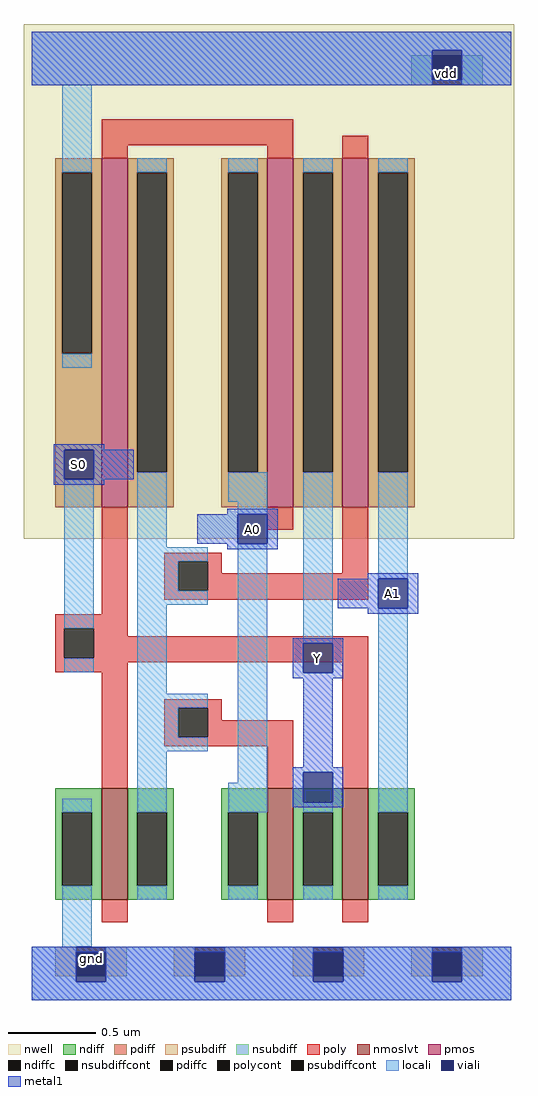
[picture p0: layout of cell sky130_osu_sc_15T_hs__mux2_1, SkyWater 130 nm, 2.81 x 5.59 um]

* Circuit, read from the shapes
.subckt sky130_osu_sc_15T_hs__mux2_1 S0 Y A0 A1
XM1 n1 S0 gnd gnd sky130_fd_pr__nfet_01v8_lvt w=0.64 l=0.15
XM2 Y n1 A0 gnd sky130_fd_pr__nfet_01v8_lvt w=0.64 l=0.15
XM3 A1 S0 Y gnd sky130_fd_pr__nfet_01v8_lvt w=0.64 l=0.15
XM4 n1 S0 vdd vdd sky130_fd_pr__pfet_01v8 w=2 l=0.15
XM5 Y S0 A0 vdd sky130_fd_pr__pfet_01v8 w=2 l=0.15
XM6 A1 n1 Y vdd sky130_fd_pr__pfet_01v8 w=2 l=0.15
.ends

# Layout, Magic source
magic
tech sky130A
magscale 1 2
<< nwell >>
rect -9 529 553 1119
<< nmoslvt >>
rect 80 115 110 243
rect 270 115 300 243
rect 356 115 386 243
<< pmos >>
rect 80 565 110 965
rect 270 565 300 965
rect 356 565 386 965
<< ndiff >>
rect 27 215 80 243
rect 27 131 35 215
rect 69 131 80 215
rect 27 115 80 131
rect 110 215 163 243
rect 110 131 121 215
rect 155 131 163 215
rect 110 115 163 131
rect 217 215 270 243
rect 217 131 225 215
rect 259 131 270 215
rect 217 115 270 131
rect 300 215 356 243
rect 300 131 311 215
rect 345 131 356 215
rect 300 115 356 131
rect 386 215 439 243
rect 386 131 397 215
rect 431 131 439 215
rect 386 115 439 131
<< pdiff >>
rect 27 949 80 965
rect 27 741 35 949
rect 69 741 80 949
rect 27 565 80 741
rect 110 949 163 965
rect 110 605 121 949
rect 155 605 163 949
rect 110 565 163 605
rect 217 949 270 965
rect 217 605 225 949
rect 259 605 270 949
rect 217 565 270 605
rect 300 949 356 965
rect 300 605 311 949
rect 345 605 356 949
rect 300 565 356 605
rect 386 949 439 965
rect 386 605 397 949
rect 431 605 439 949
rect 386 565 439 605
<< ndiffc >>
rect 35 131 69 215
rect 121 131 155 215
rect 225 131 259 215
rect 311 131 345 215
rect 397 131 431 215
<< pdiffc >>
rect 35 741 69 949
rect 121 605 155 949
rect 225 605 259 949
rect 311 605 345 949
rect 397 605 431 949
<< psubdiff >>
rect 27 27 51 61
rect 85 27 109 61
rect 163 27 187 61
rect 221 27 245 61
rect 299 27 323 61
rect 357 27 381 61
rect 435 27 459 61
rect 493 27 517 61
<< nsubdiff >>
rect 435 1049 459 1083
rect 493 1049 517 1083
<< psubdiffcont >>
rect 51 27 85 61
rect 187 27 221 61
rect 323 27 357 61
rect 459 27 493 61
<< nsubdiffcont >>
rect 459 1049 493 1083
<< poly >>
rect 80 980 300 1010
rect 80 965 110 980
rect 270 965 300 980
rect 356 965 386 991
rect 80 442 110 565
rect 270 539 300 565
rect 152 503 218 513
rect 152 469 168 503
rect 202 489 218 503
rect 356 489 386 565
rect 202 469 386 489
rect 152 459 386 469
rect 27 426 110 442
rect 27 392 37 426
rect 71 417 110 426
rect 71 392 386 417
rect 27 387 386 392
rect 27 376 110 387
rect 80 243 110 376
rect 152 335 218 345
rect 152 301 168 335
rect 202 321 218 335
rect 202 301 300 321
rect 152 291 300 301
rect 270 243 300 291
rect 356 243 386 387
rect 80 89 110 115
rect 270 89 300 115
rect 356 89 386 115
<< polycont >>
rect 168 469 202 503
rect 37 392 71 426
rect 168 301 202 335
<< locali >>
rect 0 1089 550 1110
rect 0 1049 459 1089
rect 493 1049 550 1089
rect 35 949 69 1049
rect 35 725 69 741
rect 121 949 155 965
rect 37 426 71 597
rect 37 376 71 392
rect 121 519 155 605
rect 225 949 259 965
rect 311 949 345 965
rect 225 571 270 605
rect 236 557 270 571
rect 121 503 202 519
rect 121 469 168 503
rect 121 453 202 469
rect 121 351 155 453
rect 121 335 202 351
rect 121 301 168 335
rect 121 285 202 301
rect 35 215 69 231
rect 35 61 69 131
rect 121 215 155 285
rect 236 249 270 523
rect 311 409 345 605
rect 397 949 431 965
rect 397 483 431 605
rect 121 115 155 131
rect 225 215 270 249
rect 311 215 345 227
rect 225 115 259 131
rect 311 115 345 131
rect 397 215 431 449
rect 397 115 431 131
rect 0 21 51 61
rect 85 21 187 61
rect 221 21 323 61
rect 357 21 459 61
rect 493 21 550 61
rect 0 0 550 21
<< viali >>
rect 459 1083 493 1089
rect 459 1055 493 1083
rect 37 597 71 631
rect 236 523 270 557
rect 311 375 345 409
rect 397 449 431 483
rect 311 227 345 261
rect 51 27 85 55
rect 51 21 85 27
rect 187 27 221 55
rect 187 21 221 27
rect 323 27 357 55
rect 323 21 357 27
rect 459 27 493 55
rect 459 21 493 27
<< metal1 >>
rect 0 1089 550 1110
rect 0 1055 459 1089
rect 493 1055 550 1089
rect 0 1049 550 1055
rect 25 631 83 637
rect 25 597 37 631
rect 71 597 117 631
rect 25 591 83 597
rect 224 557 282 563
rect 190 523 236 557
rect 270 523 282 557
rect 224 517 282 523
rect 385 483 443 489
rect 351 449 397 483
rect 431 449 443 483
rect 385 443 443 449
rect 299 409 357 415
rect 299 375 311 409
rect 345 375 357 409
rect 299 369 357 375
rect 311 267 345 369
rect 299 261 357 267
rect 299 227 311 261
rect 345 227 357 261
rect 299 221 357 227
rect 0 55 550 61
rect 0 21 51 55
rect 85 21 187 55
rect 221 21 323 55
rect 357 21 459 55
rect 493 21 550 55
rect 0 0 550 21
<< labels >>
rlabel viali 54 614 54 614 1 S0
port 1 n
rlabel viali 328 392 328 392 1 Y
port 2 n
rlabel viali 253 540 253 540 1 A0
port 3 n
rlabel viali 414 466 414 466 1 A1
port 4 n
rlabel viali 68 48 68 48 1 gnd
rlabel viali 476 1062 476 1062 1 vdd
<< end >>
